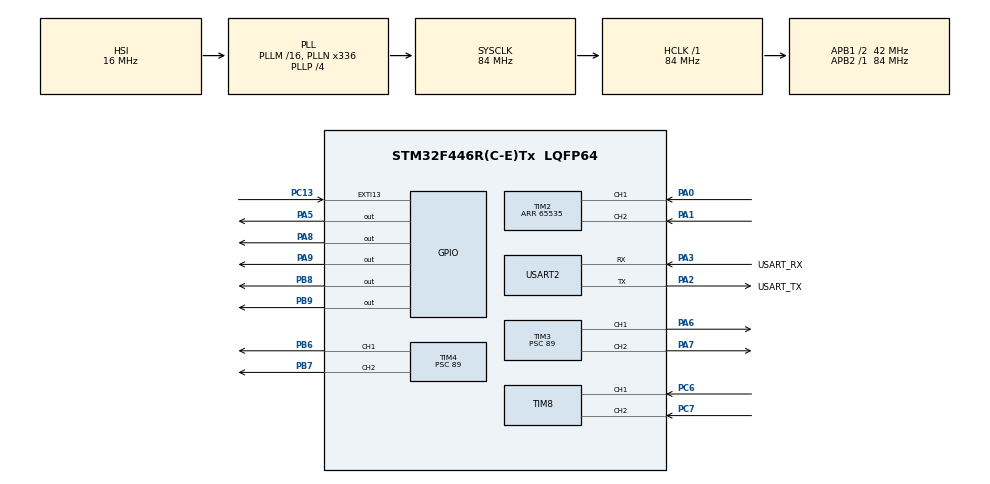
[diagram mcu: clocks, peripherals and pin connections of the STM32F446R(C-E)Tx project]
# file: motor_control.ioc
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Mcu.Family=STM32F4
Mcu.Name=STM32F446R(C-E)Tx
Mcu.Package=LQFP64
NUCLEO-F446RE.BUTTON=1
NUCLEO-F446RE.LD1=true
NVIC.EXTI15_10_IRQn=true\:0\:0\:false\:false\:true\:false\:true\:true
NVIC.PriorityGroup=NVIC_PRIORITYGROUP_0
NVIC.USART2_IRQn=true\:0\:0\:false\:false\:true\:true\:true\:true
PA0-WKUP.Signal=S_TIM2_CH1_ETR
PA1.Signal=S_TIM2_CH2
PA13.GPIO_Label=TMS
PA13.Signal=SYS_JTMS-SWDIO
PA14.GPIO_Label=TCK
PA14.Signal=SYS_JTCK-SWCLK
PA2.GPIO_Label=USART_TX
PA2.Mode=Asynchronous
PA2.Signal=USART2_TX
PA3.GPIO_Label=USART_RX
PA3.Mode=Asynchronous
PA3.Signal=USART2_RX
PA5.Signal=GPIO_Output
PA6.Signal=S_TIM3_CH1
PA7.Signal=S_TIM3_CH2
PA8.Signal=GPIO_Output
PA9.Signal=GPIO_Output
PB3.GPIO_Label=SWO
PB3.Signal=SYS_JTDO-SWO
PB6.Signal=S_TIM4_CH1
PB7.Signal=S_TIM4_CH2
PB8.Signal=GPIO_Output
PB9.Signal=GPIO_Output
PC13.Signal=GPXTI13
PC14-OSC32_IN.Signal=RCC_OSC32_IN
PC15-OSC32_OUT.Signal=RCC_OSC32_OUT
PC6.Signal=S_TIM8_CH1
PC7.Signal=S_TIM8_CH2
PH0-OSC_IN.Signal=RCC_OSC_IN
PH1-OSC_OUT.Signal=RCC_OSC_OUT
ProjectManager.HeapSize=0x200
ProjectManager.StackSize=0x400
ProjectManager.TargetToolchain=STM32CubeIDE
RCC.AHBFreq_Value=84000000
RCC.APB1CLKDivider=RCC_HCLK_DIV2
RCC.APB1Freq_Value=42000000
RCC.APB1TimFreq_Value=84000000
RCC.APB2Freq_Value=84000000
RCC.APB2TimFreq_Value=84000000
RCC.CortexFreq_Value=84000000
RCC.FLatency-AdvancedSettings=FLASH_LATENCY_2
RCC.HCLKFreq_Value=84000000
RCC.HSE_VALUE=8000000
RCC.HSI_VALUE=16000000
RCC.LSE_VALUE=32768
RCC.PLLN=336
RCC.PLLP=RCC_PLLP_DIV4
RCC.SYSCLKFreq_VALUE=84000000
RCC.SYSCLKSource=RCC_SYSCLKSOURCE_PLLCLK
RCC.USBFreq_Value=168000000
RCC.VCOOutputFreq_Value=336000000
SH.S_TIM2_CH1_ETR.0=TIM2_CH1,Encoder_Interface
SH.S_TIM2_CH2.0=TIM2_CH2,Encoder_Interface
SH.S_TIM3_CH1.0=TIM3_CH1,PWM Generation1 CH1
SH.S_TIM3_CH2.0=TIM3_CH2,PWM Generation2 CH2
SH.S_TIM4_CH1.0=TIM4_CH1,PWM Generation1 CH1
SH.S_TIM4_CH2.0=TIM4_CH2,PWM Generation2 CH2
SH.S_TIM8_CH1.0=TIM8_CH1,Encoder_Interface
SH.S_TIM8_CH2.0=TIM8_CH2,Encoder_Interface
TIM2.EncoderMode=TIM_ENCODERMODE_TI12
TIM2.IC1Filter=8
TIM2.IC2Filter=8
TIM2.Period=65535
TIM3.Channel-PWM\ Generation1\ CH1=TIM_CHANNEL_1
TIM3.Channel-PWM\ Generation2\ CH2=TIM_CHANNEL_2
TIM3.Period=99
TIM3.Prescaler=89
TIM3.Pulse-PWM\ Generation1\ CH1=0
TIM4.Channel-PWM\ Generation1\ CH1=TIM_CHANNEL_1
TIM4.Channel-PWM\ Generation2\ CH2=TIM_CHANNEL_2
TIM4.Period=99
TIM4.Prescaler=89
TIM8.EncoderMode=TIM_ENCODERMODE_TI12
USART2.VirtualMode=VM_ASYNC
VP_NUCLEO-F446RE_VS_BSP_COMMON.Mode=COMMON
VP_TIM3_VS_ClockSourceINT.Mode=Internal
VP_TIM4_VS_ClockSourceINT.Mode=Internal
board=NUCLEO-F446RE

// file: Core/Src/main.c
/* USER CODE BEGIN Header */
/**
  ******************************************************************************
  * @file           : main.c
  * @brief          : Main program body
  ******************************************************************************
  * @attention
  *
  * Copyright (c) 2026 STMicroelectronics.
  * All rights reserved.
  *
  * This software is licensed under terms that can be found in the LICENSE file
  * in the root directory of this software component.
  * If no LICENSE file comes with this software, it is provided AS-IS.
  *
  ******************************************************************************
  */
/* USER CODE END Header */
#include "main.h"

/* USER CODE BEGIN Includes */
#include "app.h"
#include "app_event.h"
#include "serial_rx.h"
/* USER CODE END Includes */

TIM_HandleTypeDef htim2;
TIM_HandleTypeDef htim3;
TIM_HandleTypeDef htim4;
TIM_HandleTypeDef htim8;

UART_HandleTypeDef huart2;

/* USER CODE BEGIN PV */

/* HAL_UART_Receive_IT()가 인터럽트 컨텍스트에서 계속 참조하는 1-byte 수신 버퍼.
 * SerialRx의 Ring Buffer로 옮겨 담긴 뒤 매번 재등록된다. */
static uint8_t serial_rx_isr_byte = 0;

/* USER CODE END PV */

void SystemClock_Config(void);
static void MX_GPIO_Init(void);
static void MX_TIM3_Init(void);
static void MX_TIM2_Init(void);
static void MX_TIM4_Init(void);
static void MX_TIM8_Init(void);
static void MX_USART2_UART_Init(void);

int main(void)
{

  /* MCU Configuration--------------------------------------------------------*/

  /* Reset of all peripherals, Initializes the Flash interface and the Systick. */
  HAL_Init();

  /* Configure the system clock */
  SystemClock_Config();

  /* Initialize all configured peripherals */
  MX_GPIO_Init();
  MX_TIM3_Init();
  MX_TIM2_Init();
  MX_TIM4_Init();
  MX_TIM8_Init();
  MX_USART2_UART_Init();
  /* USER CODE BEGIN 2 */

  App_Init();

  /* USB Serial(USART2) 초기 수신 등록. 이후 재등록은
   * HAL_UART_RxCpltCallback()에서 매 Byte마다 수행한다. */
  HAL_UART_Receive_IT(&huart2, &serial_rx_isr_byte, 1);

  /* USER CODE END 2 */

  /* Initialize leds */
  BSP_LED_Init(LED2);

  /* Initialize USER push-button, will be used to trigger an interrupt each time it's pressed.*/
  BSP_PB_Init(BUTTON_USER, BUTTON_MODE_EXTI);

  /* Infinite loop */
  /* USER CODE BEGIN WHILE */
  while (1)
  {
    App_Run();

    /* USER CODE END WHILE */

  }
}

void SystemClock_Config(void)
{
  RCC_OscInitTypeDef RCC_OscInitStruct = {0};
  RCC_ClkInitTypeDef RCC_ClkInitStruct = {0};

  /** Configure the main internal regulator output voltage
  */
  __HAL_RCC_PWR_CLK_ENABLE();
  __HAL_PWR_VOLTAGESCALING_CONFIG(PWR_REGULATOR_VOLTAGE_SCALE3);

  /** Initializes the RCC Oscillators according to the specified parameters
  * in the RCC_OscInitTypeDef structure.
  */
  RCC_OscInitStruct.OscillatorType = RCC_OSCILLATORTYPE_HSI;
  RCC_OscInitStruct.HSIState = RCC_HSI_ON;
  RCC_OscInitStruct.HSICalibrationValue = RCC_HSICALIBRATION_DEFAULT;
  RCC_OscInitStruct.PLL.PLLState = RCC_PLL_ON;
  RCC_OscInitStruct.PLL.PLLSource = RCC_PLLSOURCE_HSI;
  RCC_OscInitStruct.PLL.PLLM = 16;
  RCC_OscInitStruct.PLL.PLLN = 336;
  RCC_OscInitStruct.PLL.PLLP = RCC_PLLP_DIV4;
  RCC_OscInitStruct.PLL.PLLQ = 2;
  RCC_OscInitStruct.PLL.PLLR = 2;
  if (HAL_RCC_OscConfig(&RCC_OscInitStruct) != HAL_OK)
  {
    Error_Handler();
  }

  /** Initializes the CPU, AHB and APB buses clocks
  */
  RCC_ClkInitStruct.ClockType = RCC_CLOCKTYPE_HCLK|RCC_CLOCKTYPE_SYSCLK
                              |RCC_CLOCKTYPE_PCLK1|RCC_CLOCKTYPE_PCLK2;
  RCC_ClkInitStruct.SYSCLKSource = RCC_SYSCLKSOURCE_PLLCLK;
  RCC_ClkInitStruct.AHBCLKDivider = RCC_SYSCLK_DIV1;
  RCC_ClkInitStruct.APB1CLKDivider = RCC_HCLK_DIV2;
  RCC_ClkInitStruct.APB2CLKDivider = RCC_HCLK_DIV1;

  if (HAL_RCC_ClockConfig(&RCC_ClkInitStruct, FLASH_LATENCY_2) != HAL_OK)
  {
    Error_Handler();
  }
}

static void MX_TIM2_Init(void)
{

  TIM_Encoder_InitTypeDef sConfig = {0};
  TIM_MasterConfigTypeDef sMasterConfig = {0};

  htim2.Instance = TIM2;
  htim2.Init.Prescaler = 0;
  htim2.Init.CounterMode = TIM_COUNTERMODE_UP;
  htim2.Init.Period = 65535;
  htim2.Init.ClockDivision = TIM_CLOCKDIVISION_DIV1;
  htim2.Init.AutoReloadPreload = TIM_AUTORELOAD_PRELOAD_DISABLE;
  sConfig.EncoderMode = TIM_ENCODERMODE_TI12;
  sConfig.IC1Polarity = TIM_ICPOLARITY_RISING;
  sConfig.IC1Selection = TIM_ICSELECTION_DIRECTTI;
  sConfig.IC1Prescaler = TIM_ICPSC_DIV1;
  sConfig.IC1Filter = 8;
  sConfig.IC2Polarity = TIM_ICPOLARITY_RISING;
  sConfig.IC2Selection = TIM_ICSELECTION_DIRECTTI;
  sConfig.IC2Prescaler = TIM_ICPSC_DIV1;
  sConfig.IC2Filter = 8;
  if (HAL_TIM_Encoder_Init(&htim2, &sConfig) != HAL_OK)
  {
    Error_Handler();
  }
  sMasterConfig.MasterOutputTrigger = TIM_TRGO_RESET;
  sMasterConfig.MasterSlaveMode = TIM_MASTERSLAVEMODE_DISABLE;
  if (HAL_TIMEx_MasterConfigSynchronization(&htim2, &sMasterConfig) != HAL_OK)
  {
    Error_Handler();
  }

}

static void MX_TIM3_Init(void)
{

  TIM_ClockConfigTypeDef sClockSourceConfig = {0};
  TIM_MasterConfigTypeDef sMasterConfig = {0};
  TIM_OC_InitTypeDef sConfigOC = {0};

  htim3.Instance = TIM3;
  htim3.Init.Prescaler = 89;
  htim3.Init.CounterMode = TIM_COUNTERMODE_UP;
  htim3.Init.Period = 99;
  htim3.Init.ClockDivision = TIM_CLOCKDIVISION_DIV1;
  htim3.Init.AutoReloadPreload = TIM_AUTORELOAD_PRELOAD_DISABLE;
  if (HAL_TIM_Base_Init(&htim3) != HAL_OK)
  {
    Error_Handler();
  }
  sClockSourceConfig.ClockSource = TIM_CLOCKSOURCE_INTERNAL;
  if (HAL_TIM_ConfigClockSource(&htim3, &sClockSourceConfig) != HAL_OK)
  {
    Error_Handler();
  }
  if (HAL_TIM_PWM_Init(&htim3) != HAL_OK)
  {
    Error_Handler();
  }
  sMasterConfig.MasterOutputTrigger = TIM_TRGO_RESET;
  sMasterConfig.MasterSlaveMode = TIM_MASTERSLAVEMODE_DISABLE;
  if (HAL_TIMEx_MasterConfigSynchronization(&htim3, &sMasterConfig) != HAL_OK)
  {
    Error_Handler();
  }
  sConfigOC.OCMode = TIM_OCMODE_PWM1;
  sConfigOC.Pulse = 0;
  sConfigOC.OCPolarity = TIM_OCPOLARITY_HIGH;
  sConfigOC.OCFastMode = TIM_OCFAST_DISABLE;
  if (HAL_TIM_PWM_ConfigChannel(&htim3, &sConfigOC, TIM_CHANNEL_1) != HAL_OK)
  {
    Error_Handler();
  }
  if (HAL_TIM_PWM_ConfigChannel(&htim3, &sConfigOC, TIM_CHANNEL_2) != HAL_OK)
  {
    Error_Handler();
  }
  HAL_TIM_MspPostInit(&htim3);

}

static void MX_TIM4_Init(void)
{

  TIM_ClockConfigTypeDef sClockSourceConfig = {0};
  TIM_MasterConfigTypeDef sMasterConfig = {0};
  TIM_OC_InitTypeDef sConfigOC = {0};

  htim4.Instance = TIM4;
  htim4.Init.Prescaler = 89;
  htim4.Init.CounterMode = TIM_COUNTERMODE_UP;
  htim4.Init.Period = 99;
  htim4.Init.ClockDivision = TIM_CLOCKDIVISION_DIV1;
  htim4.Init.AutoReloadPreload = TIM_AUTORELOAD_PRELOAD_DISABLE;
  if (HAL_TIM_Base_Init(&htim4) != HAL_OK)
  {
    Error_Handler();
  }
  sClockSourceConfig.ClockSource = TIM_CLOCKSOURCE_INTERNAL;
  if (HAL_TIM_ConfigClockSource(&htim4, &sClockSourceConfig) != HAL_OK)
  {
    Error_Handler();
  }
  if (HAL_TIM_PWM_Init(&htim4) != HAL_OK)
  {
    Error_Handler();
  }
  sMasterConfig.MasterOutputTrigger = TIM_TRGO_RESET;
  sMasterConfig.MasterSlaveMode = TIM_MASTERSLAVEMODE_DISABLE;
  if (HAL_TIMEx_MasterConfigSynchronization(&htim4, &sMasterConfig) != HAL_OK)
  {
    Error_Handler();
  }
  sConfigOC.OCMode = TIM_OCMODE_PWM1;
  sConfigOC.Pulse = 0;
  sConfigOC.OCPolarity = TIM_OCPOLARITY_HIGH;
  sConfigOC.OCFastMode = TIM_OCFAST_DISABLE;
  if (HAL_TIM_PWM_ConfigChannel(&htim4, &sConfigOC, TIM_CHANNEL_1) != HAL_OK)
  {
    Error_Handler();
  }
  if (HAL_TIM_PWM_ConfigChannel(&htim4, &sConfigOC, TIM_CHANNEL_2) != HAL_OK)
  {
    Error_Handler();
  }
  HAL_TIM_MspPostInit(&htim4);

}

static void MX_TIM8_Init(void)
{

  TIM_Encoder_InitTypeDef sConfig = {0};
  TIM_MasterConfigTypeDef sMasterConfig = {0};

  htim8.Instance = TIM8;
  htim8.Init.Prescaler = 0;
  htim8.Init.CounterMode = TIM_COUNTERMODE_UP;
  htim8.Init.Period = 65535;
  htim8.Init.ClockDivision = TIM_CLOCKDIVISION_DIV1;
  htim8.Init.RepetitionCounter = 0;
  htim8.Init.AutoReloadPreload = TIM_AUTORELOAD_PRELOAD_DISABLE;
  sConfig.EncoderMode = TIM_ENCODERMODE_TI12;
  sConfig.IC1Polarity = TIM_ICPOLARITY_RISING;
  sConfig.IC1Selection = TIM_ICSELECTION_DIRECTTI;
  sConfig.IC1Prescaler = TIM_ICPSC_DIV1;
  sConfig.IC1Filter = 0;
  sConfig.IC2Polarity = TIM_ICPOLARITY_RISING;
  sConfig.IC2Selection = TIM_ICSELECTION_DIRECTTI;
  sConfig.IC2Prescaler = TIM_ICPSC_DIV1;
  sConfig.IC2Filter = 0;
  if (HAL_TIM_Encoder_Init(&htim8, &sConfig) != HAL_OK)
  {
    Error_Handler();
  }
  sMasterConfig.MasterOutputTrigger = TIM_TRGO_RESET;
  sMasterConfig.MasterSlaveMode = TIM_MASTERSLAVEMODE_DISABLE;
  if (HAL_TIMEx_MasterConfigSynchronization(&htim8, &sMasterConfig) != HAL_OK)
  {
    Error_Handler();
  }

}

static void MX_USART2_UART_Init(void)
{

  huart2.Instance = USART2;
  huart2.Init.BaudRate = 115200;
  huart2.Init.WordLength = UART_WORDLENGTH_8B;
  huart2.Init.StopBits = UART_STOPBITS_1;
  huart2.Init.Parity = UART_PARITY_NONE;
  huart2.Init.Mode = UART_MODE_TX_RX;
  huart2.Init.HwFlowCtl = UART_HWCONTROL_NONE;
  huart2.Init.OverSampling = UART_OVERSAMPLING_16;
  if (HAL_UART_Init(&huart2) != HAL_OK)
  {
    Error_Handler();
  }

}

static void MX_GPIO_Init(void)
{
  GPIO_InitTypeDef GPIO_InitStruct = {0};

  /* GPIO Ports Clock Enable */
  __HAL_RCC_GPIOC_CLK_ENABLE();
  __HAL_RCC_GPIOH_CLK_ENABLE();
  __HAL_RCC_GPIOA_CLK_ENABLE();
  __HAL_RCC_GPIOB_CLK_ENABLE();

  /*Configure GPIO pin Output Level */
  HAL_GPIO_WritePin(GPIOA, GPIO_PIN_8|GPIO_PIN_9, GPIO_PIN_RESET);

  /*Configure GPIO pin Output Level */
  HAL_GPIO_WritePin(GPIOB, GPIO_PIN_8|GPIO_PIN_9, GPIO_PIN_RESET);

  /*Configure GPIO pins : PA8 PA9 */
  GPIO_InitStruct.Pin = GPIO_PIN_8|GPIO_PIN_9;
  GPIO_InitStruct.Mode = GPIO_MODE_OUTPUT_PP;
  GPIO_InitStruct.Pull = GPIO_NOPULL;
  GPIO_InitStruct.Speed = GPIO_SPEED_FREQ_LOW;
  HAL_GPIO_Init(GPIOA, &GPIO_InitStruct);

  /*Configure GPIO pins : PB8 PB9 */
  GPIO_InitStruct.Pin = GPIO_PIN_8|GPIO_PIN_9;
  GPIO_InitStruct.Mode = GPIO_MODE_OUTPUT_PP;
  GPIO_InitStruct.Pull = GPIO_NOPULL;
  GPIO_InitStruct.Speed = GPIO_SPEED_FREQ_LOW;
  HAL_GPIO_Init(GPIOB, &GPIO_InitStruct);

}

/* USER CODE BEGIN 4 */

/**
  * @brief  GPIO EXTI 콜백. B1 버튼(PC13) 입력은 Motor/StopController를
  *         전혀 알지 못하고 AppEventQueue에 이벤트만 Push한다.
  *         인터럽트 컨텍스트이므로 큐 등록 외의 동작은 하지 않는다.
  */
void HAL_GPIO_EXTI_Callback(uint16_t GPIO_Pin)
{
  if (GPIO_Pin == USER_BUTTON_PIN)
  {
    AppEvent_t event = { .type = APP_EVENT_LATCHED_SAFE_STOP };
    AppEventQueue_PushFromISR(&event);
  }
}

/**
  * @brief  USART2(USB Serial) 수신 완료 콜백.
  *         수신된 1 Byte를 SerialRx Ring Buffer에 담고 즉시 다음 Byte
  *         수신을 재등록하는 것 외의 동작(파싱, Motor/Controller 호출
  *         등)은 하지 않는다. 인터럽트 컨텍스트이므로 짧게 끝난다.
  */
void HAL_UART_RxCpltCallback(UART_HandleTypeDef *huart)
{
  if (huart->Instance == USART2)
  {
    SerialRx_PushFromISR(serial_rx_isr_byte);
    HAL_UART_Receive_IT(&huart2, &serial_rx_isr_byte, 1);
  }
}

/**
  * @brief  USART2 에러 콜백. 프레이밍/패리티/노이즈/오버런 에러가 발생하면
  *         HAL이 진행 중이던 수신을 중단시키므로(RxState -> READY), 여기서
  *         다시 등록하지 않으면 그 이후로는 어떤 Byte도 수신되지 않는다.
  *         해당 Byte 하나만 유실되고 다음 Byte부터 정상 수신을 재개한다.
  */
void HAL_UART_ErrorCallback(UART_HandleTypeDef *huart)
{
  if (huart->Instance == USART2)
  {
    HAL_UART_Receive_IT(&huart2, &serial_rx_isr_byte, 1);
  }
}

/* USER CODE END 4 */

void Error_Handler(void)
{
  __disable_irq();
  while (1)
  {
  }
}
